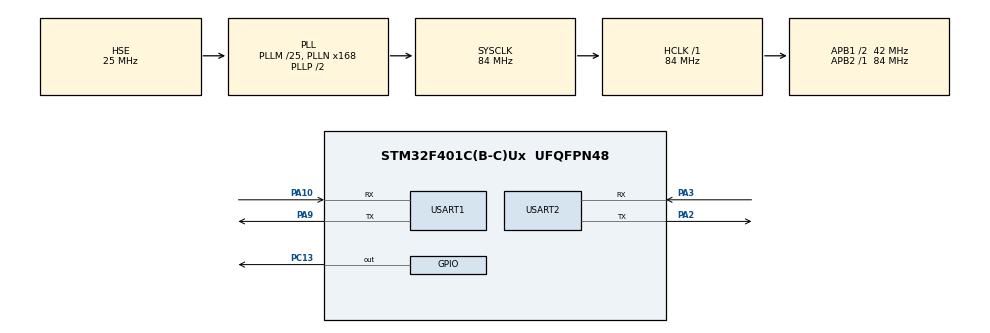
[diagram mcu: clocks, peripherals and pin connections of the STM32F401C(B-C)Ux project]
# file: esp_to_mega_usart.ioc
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Mcu.Family=STM32F4
Mcu.Name=STM32F401C(B-C)Ux
Mcu.Package=UFQFPN48
NVIC.PriorityGroup=NVIC_PRIORITYGROUP_4
NVIC.USART1_IRQn=true\:0\:0\:false\:false\:true\:true\:true\:true
NVIC.USART2_IRQn=true\:0\:0\:false\:false\:true\:true\:true\:true
PA10.Mode=Asynchronous
PA10.Signal=USART1_RX
PA2.Mode=Asynchronous
PA2.Signal=USART2_TX
PA3.Mode=Asynchronous
PA3.Signal=USART2_RX
PA9.Mode=Asynchronous
PA9.Signal=USART1_TX
PC13-ANTI_TAMP.GPIO_ModeDefaultOutputPP=GPIO_MODE_OUTPUT_OD
PC13-ANTI_TAMP.GPIO_PuPd=GPIO_NOPULL
PC13-ANTI_TAMP.Signal=GPIO_Output
PH0\ -\ OSC_IN.Mode=HSE-External-Oscillator
PH0\ -\ OSC_IN.Signal=RCC_OSC_IN
PH1\ -\ OSC_OUT.Mode=HSE-External-Oscillator
PH1\ -\ OSC_OUT.Signal=RCC_OSC_OUT
ProjectManager.HeapSize=0x200
ProjectManager.StackSize=0x400
ProjectManager.TargetToolchain=STM32CubeIDE
RCC.48MHZClocksFreq_Value=42000000
RCC.AHBFreq_Value=84000000
RCC.APB1CLKDivider=RCC_HCLK_DIV2
RCC.APB1Freq_Value=42000000
RCC.APB1TimFreq_Value=84000000
RCC.APB2Freq_Value=84000000
RCC.APB2TimFreq_Value=84000000
RCC.CortexFreq_Value=84000000
RCC.EnbaleCSS=true
RCC.HCLKFreq_Value=84000000
RCC.HSE_VALUE=25000000
RCC.HSI_VALUE=16000000
RCC.LSE_VALUE=32768
RCC.PLLM=25
RCC.PLLN=168
RCC.PLLSourceVirtual=RCC_PLLSOURCE_HSE
RCC.SYSCLKFreq_VALUE=84000000
RCC.SYSCLKSource=RCC_SYSCLKSOURCE_PLLCLK
RCC.VCOOutputFreq_Value=168000000
USART1.VirtualMode=VM_ASYNC
USART2.VirtualMode=VM_ASYNC
board=custom

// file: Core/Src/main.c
/* USER CODE BEGIN Header */
/**
 ******************************************************************************
 * @file           : main.c
 * @brief          : Main program body
 ******************************************************************************
 * @attention
 *
 * Copyright (c) 2026 STMicroelectronics.
 * All rights reserved.
 *
 * This software is licensed under terms that can be found in the LICENSE file
 * in the root directory of this software component.
 * If no LICENSE file comes with this software, it is provided AS-IS.
 *
 ******************************************************************************
 */
/* USER CODE END Header */
#include "main.h"

/* USER CODE BEGIN Includes */
#include<stdbool.h>
#include<stdio.h>
#include<string.h>
/* USER CODE END Includes */

UART_HandleTypeDef huart1;
UART_HandleTypeDef huart2;

void SystemClock_Config(void);
static void MX_GPIO_Init(void);
static void MX_USART1_UART_Init(void);
static void MX_USART2_UART_Init(void);

/* USER CODE BEGIN 0 */
uint8_t rx_byte;
volatile uint8_t rx_count=0;
volatile bool ready= false;
volatile uint8_t idx=0;
uint8_t packet_buffer[11];

//data
int8_t LX;
int8_t LY;
int8_t RX;
int8_t RY;
uint8_t L2,R2;
uint16_t buttons;
uint16_t prev_buttons;

#define EVENT_QUEUE_SIZE 8
volatile uint16_t event_queue[8];
volatile uint8_t event_head =0;
volatile uint8_t event_tail =0;
volatile uint16_t prev_buttons_isr = 0;

#define NUM_BUTTONS 10
volatile uint8_t butt[NUM_BUTTONS] = {0};

static inline void enqueue_button_event(uint16_t pressed)
{
	uint8_t next = (event_head + 1) % EVENT_QUEUE_SIZE;

	if (next != event_tail) {   // queue not full
		event_queue[event_head] = pressed;
		event_head = next;
	}
}

bool check_packet(uint8_t *buf){
	if(buf[0]!=0xAA || buf[10]!=0x55) return false;
	uint16_t sum=0;
	for(int i=0;i<=8;i++) sum+=buf[i];
	return ((uint8_t)(0-sum)==buf[9]);
}

void HAL_UART_RxCpltCallback(UART_HandleTypeDef *huart)
{
    if (huart->Instance == USART1)
    {
        if (idx == 0)
        {
            if (rx_byte == 0xAA)
            {
                packet_buffer[idx++] = rx_byte;
            }
        }
        else
        {
            packet_buffer[idx++] = rx_byte;

            if (idx == 11)
            {
                if (check_packet(packet_buffer))
                {
                    LX = (int8_t)packet_buffer[1];
                    LY = (int8_t)packet_buffer[2];
                    RX = (int8_t)packet_buffer[3];
                    RY = (int8_t)packet_buffer[4];
                    R2 = packet_buffer[5];
                    L2 = packet_buffer[6];

                    uint16_t buttons =
                        packet_buffer[7] |
                        (packet_buffer[8] << 8);

                    uint16_t pressed = buttons & ~prev_buttons;

                    if (pressed)
                        enqueue_button_event(pressed);

                    prev_buttons = buttons;

                    HAL_GPIO_TogglePin(GPIOA, GPIO_PIN_5);
                }

                idx = 0;
            }
        }

        HAL_UART_Receive_IT(&huart1, &rx_byte, 1);
    }
}

void process_packet(void){
	if(ready){
		uint8_t local_buf[11];
		__disable_irq();
		memcpy(local_buf, packet_buffer, 11);
		ready = false;
		__enable_irq();

		if(check_packet(local_buf)){
			LX = (int8_t)local_buf[1];
			LY = (int8_t)local_buf[2];
			RX = (int8_t)local_buf[3];
			RY = (int8_t)local_buf[4];
			R2 = local_buf[5];
			L2 = local_buf[6];
		}
		//printf("LX: %u LY: %u RX: %u RY: %d L2: %u R2: %u\r\n",LX,LY,RX,RY,L2,R2);
	}
}

void process_button_events(void)
{

	if(butt[0]) printf("Cross\r\n");
	if(butt[1]) printf("Circle\r\n");
	if(butt[2]) printf("Triangle\r\n");
	if(butt[3]) printf("Square\r\n");
	if(butt[4]) printf("L1\r\n");
	if(butt[5]) printf("R1\r\n");
	if(butt[6]) printf("Up\r\n");
	if(butt[7]) printf("Down\r\n");
	if(butt[8]) printf("Left\r\n");
	if(butt[9]) printf("Right\r\n");
}

// Send printf to uart1
int _write(int fd, char* ptr, int len) {
	HAL_StatusTypeDef hstatus;

	if (fd == 1 || fd == 2) {
		hstatus = HAL_UART_Transmit(&huart2, (uint8_t *) ptr, len, HAL_MAX_DELAY);
		if (hstatus == HAL_OK)
			return len;
		else
			return -1;
	}
	return -1;
}

/* USER CODE END 0 */

int main(void)
{

	/* MCU Configuration--------------------------------------------------------*/

	/* Reset of all peripherals, Initializes the Flash interface and the Systick. */
	HAL_Init();

	/* Configure the system clock */
	SystemClock_Config();

	/* Initialize all configured peripherals */
	MX_GPIO_Init();
	MX_USART1_UART_Init();
	MX_USART2_UART_Init();
	/* USER CODE BEGIN 2 */
	HAL_NVIC_SetPriority(USART2_IRQn, 0, 0);
	HAL_NVIC_EnableIRQ(USART2_IRQn);
	HAL_UART_Receive_IT(&huart2, &rx_byte, 1);
	/* USER CODE END 2 */

	/* Infinite loop */
	/* USER CODE BEGIN WHILE */
	while (1)
	{
		process_packet();
		process_button_events();
		//printf("OK\r\n");
		/* USER CODE END WHILE */
	}
}

void SystemClock_Config(void)
{
	RCC_OscInitTypeDef RCC_OscInitStruct = {0};
	RCC_ClkInitTypeDef RCC_ClkInitStruct = {0};

	/** Configure the main internal regulator output voltage
	 */
	__HAL_RCC_PWR_CLK_ENABLE();
	__HAL_PWR_VOLTAGESCALING_CONFIG(PWR_REGULATOR_VOLTAGE_SCALE2);

	/** Initializes the RCC Oscillators according to the specified parameters
	 * in the RCC_OscInitTypeDef structure.
	 */
	RCC_OscInitStruct.OscillatorType = RCC_OSCILLATORTYPE_HSE;
	RCC_OscInitStruct.HSEState = RCC_HSE_ON;
	RCC_OscInitStruct.PLL.PLLState = RCC_PLL_ON;
	RCC_OscInitStruct.PLL.PLLSource = RCC_PLLSOURCE_HSE;
	RCC_OscInitStruct.PLL.PLLM = 25;
	RCC_OscInitStruct.PLL.PLLN = 168;
	RCC_OscInitStruct.PLL.PLLP = RCC_PLLP_DIV2;
	RCC_OscInitStruct.PLL.PLLQ = 4;
	if (HAL_RCC_OscConfig(&RCC_OscInitStruct) != HAL_OK)
	{
		Error_Handler();
	}

	/** Initializes the CPU, AHB and APB buses clocks
	 */
	RCC_ClkInitStruct.ClockType = RCC_CLOCKTYPE_HCLK|RCC_CLOCKTYPE_SYSCLK
			|RCC_CLOCKTYPE_PCLK1|RCC_CLOCKTYPE_PCLK2;
	RCC_ClkInitStruct.SYSCLKSource = RCC_SYSCLKSOURCE_PLLCLK;
	RCC_ClkInitStruct.AHBCLKDivider = RCC_SYSCLK_DIV1;
	RCC_ClkInitStruct.APB1CLKDivider = RCC_HCLK_DIV2;
	RCC_ClkInitStruct.APB2CLKDivider = RCC_HCLK_DIV1;

	if (HAL_RCC_ClockConfig(&RCC_ClkInitStruct, FLASH_LATENCY_2) != HAL_OK)
	{
		Error_Handler();
	}

	/** Enables the Clock Security System
	 */
	HAL_RCC_EnableCSS();
}

static void MX_USART1_UART_Init(void)
{

	huart1.Instance = USART1;
	huart1.Init.BaudRate = 115200;
	huart1.Init.WordLength = UART_WORDLENGTH_8B;
	huart1.Init.StopBits = UART_STOPBITS_1;
	huart1.Init.Parity = UART_PARITY_NONE;
	huart1.Init.Mode = UART_MODE_TX_RX;
	huart1.Init.HwFlowCtl = UART_HWCONTROL_NONE;
	huart1.Init.OverSampling = UART_OVERSAMPLING_16;
	if (HAL_UART_Init(&huart1) != HAL_OK)
	{
		Error_Handler();
	}

}

static void MX_USART2_UART_Init(void)
{

	huart2.Instance = USART2;
	huart2.Init.BaudRate = 115200;
	huart2.Init.WordLength = UART_WORDLENGTH_8B;
	huart2.Init.StopBits = UART_STOPBITS_1;
	huart2.Init.Parity = UART_PARITY_NONE;
	huart2.Init.Mode = UART_MODE_TX_RX;
	huart2.Init.HwFlowCtl = UART_HWCONTROL_NONE;
	huart2.Init.OverSampling = UART_OVERSAMPLING_16;
	if (HAL_UART_Init(&huart2) != HAL_OK)
	{
		Error_Handler();
	}

}

static void MX_GPIO_Init(void)
{
	GPIO_InitTypeDef GPIO_InitStruct = {0};

	/* GPIO Ports Clock Enable */
	__HAL_RCC_GPIOC_CLK_ENABLE();
	__HAL_RCC_GPIOH_CLK_ENABLE();
	__HAL_RCC_GPIOA_CLK_ENABLE();

	/*Configure GPIO pin Output Level */
	HAL_GPIO_WritePin(GPIOC, GPIO_PIN_13, GPIO_PIN_RESET);

	/*Configure GPIO pin : PC13 */
	GPIO_InitStruct.Pin = GPIO_PIN_13;
	GPIO_InitStruct.Mode = GPIO_MODE_OUTPUT_OD;
	GPIO_InitStruct.Pull = GPIO_NOPULL;
	GPIO_InitStruct.Speed = GPIO_SPEED_FREQ_LOW;
	HAL_GPIO_Init(GPIOC, &GPIO_InitStruct);

}

void Error_Handler(void)
{
	__disable_irq();
	while (1)
	{
	}
}
